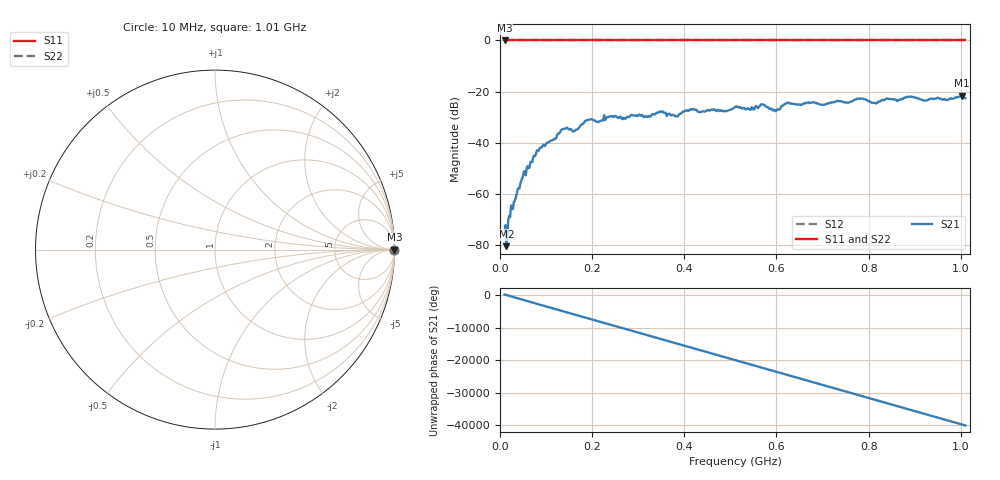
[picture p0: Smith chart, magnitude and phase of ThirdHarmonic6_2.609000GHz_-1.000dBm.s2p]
! 8/17/2025 5:42:07 AM
! C:\ANRITSUVNA\TEMP\TEMP.S2P
! CHANNEL.1
! TR.MEASUREMENT
! RAW.DATA
! RF.CORRECTION.OFF
! AVERAGING.OFF
! IF.BANDWIDTH: 5KHZ
! SWEEPTYPE:  FREQ.SWEEP(Linear)
! Reference Plane Port Info
! PORT:  PORT1  PORT2
! DISTANCE:  0  m  0  m
! TIME:  0  s  0  s
! PHASE.OFFSET:  0  deg.  0  deg.
! LOSS:  0  dB  0  dB
! REF.LOSS:  0  dB  0  dB
! REF.FREQ:  0  Hz  0  Hz
! Power Info
! POWER:  -20  dBm  -20  dBm
! EFF.POWER:  -20  dBm  -20  dBm
! SOURCE.ATTEN:  0  dB  0  dB
! TEST.ATTEN:  0  dB  0  dB
# GHZ S RI R 50.0
! FREQ.GHZ  S11RE  S11IM  S21RE  S21IM  S12RE  S12IM  S22RE  S22IM
!; PortSelection: Port_12
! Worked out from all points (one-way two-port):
!   501 points, 10 MHz to 1.01 GHz, reference 50 ohm
!   highest |S21| = -21.66 dB at 1.002 GHz (marker M1); lowest = -80.6 dB at 14 MHz (marker M2)
!   lowest |S11| = 0.0 dB at 10 MHz (marker M3)
!   |S11| at or under -10 dB: nowhere
!   |S22| runs from 0.0 to 0.0 dB; largest |S21 - S12| = 1.1
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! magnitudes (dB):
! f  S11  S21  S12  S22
! 10 MHz  0.0  -75.3  0.0  0.0
! 14 MHz  0.0  -80.6  0.0  0.0
! 18 MHz  0.0  -70.1  0.0  0.0
! 22 MHz  0.0  -69.1  0.0  0.0
! 50 MHz  0.0  -53.2  0.0  0.0
! 76 MHz  0.0  -45.3  0.0  0.0
! 136 MHz  0.0  -34.8  0.0  0.0
! 162 MHz  0.0  -35.5  0.0  0.0
! 178 MHz  0.0  -32.8  0.0  0.0
! 194 MHz  0.0  -31.0  0.0  0.0
! 344 MHz  0.0  -28.3  0.0  0.0
! 382 MHz  0.0  -29.6  0.0  0.0
! 416 MHz  0.0  -27.1  0.0  0.0
! 510 MHz  0.0  -26.1  0.0  0.0
! 570 MHz  0.0  -25.0  0.0  0.0
! 596 MHz  0.0  -27.2  0.0  0.0
! 622 MHz  0.0  -24.6  0.0  0.0
! 678 MHz  0.0  -24.3  0.0  0.0
! 814 MHz  0.0  -24.5  0.0  0.0
! 844 MHz  0.0  -22.9  0.0  0.0
! 1.002 GHz  0.0  -21.7  0.0  0.0
! 1.01 GHz  0.0  -22.6  0.0  0.0
